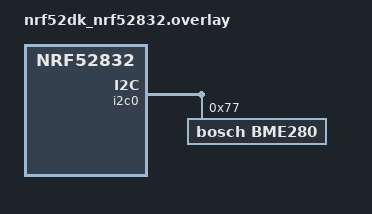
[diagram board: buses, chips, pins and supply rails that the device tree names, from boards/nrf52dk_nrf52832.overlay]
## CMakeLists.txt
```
# Find Zephyr. This also loads Zephyr's build system.
cmake_minimum_required(VERSION 3.20.1)
find_package(Zephyr REQUIRED HINTS $ENV{ZEPHYR_BASE})
project(zephyr_node)
zephyr_compile_definitions(PROJECT_NAME=${PROJECT_NAME} VENDOR_EVENT_DONE_MAX=5)
#Add compiler definitions and sources
message(STATUS "SPMS is Node") 
add_definitions(-D__SPMS_BT=1)
file(GLOB app_sources
    ${CMAKE_CURRENT_SOURCE_DIR}/src/*.c 
    ${CMAKE_CURRENT_SOURCE_DIR}/src/*.cpp
    ${CMAKE_CURRENT_SOURCE_DIR}/src/mesh/mesh_base_model.c
    ${CMAKE_CURRENT_SOURCE_DIR}/src/mesh/mesh_sensor_setup_server.c)
message(STATUS "Building SPMS as Node")
# Add sources
target_include_directories(app PRIVATE GLOB ${CMAKE_CURRENT_SOURCE_DIR}/inc ${CMAKE_CURRENT_SOURCE_DIR}/inc/ble ${CMAKE_CURRENT_SOURCE_DIR}/inc/mesh) 
target_sources(app PRIVATE ${app_sources})

# Build variables
# set(BOARD nrf52dk_nrf52832)
```

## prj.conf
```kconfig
#Debug settings
CONFIG_BT_DEBUG_LOG=y
CONFIG_BT_MESH_DEBUG=y
# CONFIG_BT_MESH_DEBUG_MODEL=y
# CONFIG_BT_MESH_DEBUG_ACCESS=y
# CONFIG_BT_MESH_DEBUG_MODEL=y
CONFIG_BT_MESH_DEBUG_TRANS=n
# CONFIG_BT_MESH_DEBUG_NET=n
# CONFIG_BT_MESH_DEBUG_CRYPTO=n

#Memory settings
CONFIG_SYSTEM_WORKQUEUE_STACK_SIZE=8192
CONFIG_HEAP_MEM_POOL_SIZE=16384
#8192

# System clock settings
CONFIG_SYS_CLOCK_TICKS_PER_SEC=10

#Sensor settings
CONFIG_ADC=y
CONFIG_ADC_ASYNC=y
#CONFIG_ADC_NRFX_ADC_CHANNEL_COUNT=4
CONFIG_I2C=y
CONFIG_SENSOR=y
CONFIG_BME280=y
# CONFIG_CCS811=y

# Bluetooth settings
CONFIG_BT_SETTINGS=y
CONFIG_FLASH=y
CONFIG_FLASH_PAGE_LAYOUT=y
CONFIG_FLASH_MAP=y
# COFNIG_NVS=y
CONFIG_FCB=y
CONFIG_SETTINGS=y
CONFIG_SETTINGS_FCB=y

CONFIG_BT=y
CONFIG_BT_TINYCRYPT_ECC=y
CONFIG_BT_RX_STACK_SIZE=8192
# CONFIG_BT_RX_BUF_COUNT=3
# CONFIG_BT_DISCARDABLE_BUF_COUNT=3

CONFIG_BT_ATT_PREPARE_COUNT=5

CONFIG_BT_CTLR_DUP_FILTER_LEN=0
CONFIG_BT_OBSERVER=y
CONFIG_BT_BROADCASTER=y

CONFIG_BT_CTLR_LE_ENC=n
CONFIG_BT_CTLR_LE_PING=n
CONFIG_BT_DATA_LEN_UPDATE=n
CONFIG_BT_PHY_UPDATE=n
CONFIG_BT_CTLR_CHAN_SEL_2=n
CONFIG_BT_CTLR_MIN_USED_CHAN=n
CONFIG_BT_CTLR_ADV_EXT=n
CONFIG_BT_CTLR_PRIVACY=n

CONFIG_BT_MESH=y
CONFIG_BT_MESH_GATT_PROXY=y
CONFIG_BT_PERIPHERAL=y

# CONFIG_BT_MESH_MODEL_EXTENSIONS=y
CONFIG_BT_MESH_PB_GATT=y
CONFIG_BT_MESH_PB_ADV=y

CONFIG_BT_DEVICE_NAME="SPMS device"

CONFIG_BT_MESH_SUBNET_COUNT=1
CONFIG_BT_MESH_APP_KEY_COUNT=2
CONFIG_BT_MESH_MODEL_GROUP_COUNT=1
CONFIG_BT_MESH_LABEL_COUNT=0
CONFIG_BT_MESH_CFG_CLI=y

# CONFIG_BT_DEBUG_LOG=y
# CONFIG_LOG_BUFFER_SIZE=2048
# CONFIG_LOG_STRDUP_BUF_COUNT=1
# CONFIG_BT_MESH_DEBUG=y
# CONFIG_BT_MESH_DEBUG_ACCESS=y
# CONFIG_BT_MESH_DEBUG_NET=y

# CONFIG_BT_MESH_LOW_POWER=y
# CONFIG_BT_MESH_LPN_SCAN_LATENCY=30
# CONFIG_BT_MESH_LPN_RECV_DELAY=40
# CONFIG_BT_MESH_LPN_POLL_TIMEOUT=300

CONFIG_NEWLIB_LIBC=y
CONFIG_NEWLIB_LIBC_FLOAT_PRINTF=y
#CONFIG_NATIVE_APPLICATION=y
CONFIG_TEST_RANDOM_GENERATOR=y
# CONFIG_HWINFO=y
```

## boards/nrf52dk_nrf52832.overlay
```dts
&i2c0 {
	bme280@77 {
		compatible = "bosch,bme280";
		reg = <0x77>;
		label = "BME280";
	};
};
```

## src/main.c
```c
/*
* Plantenna 2 node - bt mesh (Setup) node
 test file
* File name:    main.c
* Author:       Frank Arts
* Date:         20-01-2021
* Version:      V1
* Version info
* - Build on previous version of ble main.c
* - Added bt mesh enable function
*/

// SPMS
#include "spms_libs.h" 
#include "spms_sensor.h"
#include "mesh_sensor_common.h"

//Peripheral
#include "peripherals.h"

// BT MESH base model (config + health) + other added models
#include "mesh_base_model.h"
// globals
static struct k_timer updateTimer;
static struct k_timer updateStorage;
static const uint8_t device_id[5];
// Timer expire handler
void updateHandler()
{
    // LOG_MODULE_DECLARE(updateHandler, CONFIG_DBG_LOG_LEVEL);
    unsigned timeStamp = (unsigned)k_uptime_ticks();
    airflow_local sensor_data;

    printk("[Time] Timer expired at %d\n", timeStamp);
    printk("[Log] Current storage index is %d\n", get_local_storage_index());
    printk("[dbg] I'm a node\n");
    sensor_data.time = timeStamp;
    sensor_read(&sensor_data);
    
    //ccs811_main(); 
    //do_fetch_ccs811(dev, &localStorage[storageIndex]);
    add_sensor_series(sensor_data);
    print_storage_all();
    // sensor_descriptor_status_msg_pkt_t status;
    // status.short_pkt.sensor_property_id = SENSOR_ALL_PROP_ID;
    // printk("Status msg sending...\n");
    // sensor_data_status_tx(NULL, 0);
    // printk("Status msg sending done\n");
}

// Initialization
int init_SPMS()
{

    #define WARNING 0x1
    #define ERROR 0x2

    // hwinfo_get_device_id(device_id,sizeof(device_id));

    const static char strInit [] = "Initializing";
    const static char strPass [] = "[Passed]";
    const static char strFail [] = "[Failed]";

    int status = 0;

    printk("\nSmart Plant Monitoring System V1\n\n");

    // Local storage
    printk("[%s] local storage\n", strInit);
    if (!local_storage_init()) printk("%s %s local storage\n", strPass, strInit);
    else {printk("%s %s local storage\n", strPass, strInit); status = status ^ ERROR;}

    // ADC / sensors
    printk("[%s] Sensors\n", strInit);
    if (!sensor_init()) printk("%s %s Sensors\n", strPass, strInit);
    else {printk("%s %s Sensors\n", strFail, strInit); status = status ^ WARNING;}

    // Bluetooth
    printk("[%s] bluetooth\n", strInit);
    uint8_t rnd = sys_rand32_get()%128;
    dev_uuid[0] = rnd;
    bt_ctlr_set_public_addr(dev_uuid);
    printk("[BT] My UUID is %d\n",rnd);

    if (!init_sensor_model_local_storage()) 
        printk("%s %s sensor model local storage\n", strPass, strInit);
    else {
        printk("%s %s local storage\n", strPass, strInit); status = status ^ ERROR;}
    if(!bt_enable(spms_mesh_init)) 
        printk("%s %s bluetooth\n", strPass, strInit);
    if(!bt_enable(NULL)) 
        printk("%s %s bluetooth\n", strPass, strInit);

    // Start "update" timer, callback every minute
    printk("[%s] update timer\n", strInit);
    k_timer_init(&updateTimer, updateHandler, NULL);
    k_timer_start(&updateTimer, K_SECONDS(30), K_SECONDS(30));
    // k_timer_init(&updateStorage, print_storage_all,NULL);
    // k_timer_start(&updateStorage, K_SECONDS(180), K_SECONDS(180));
    printk("%s %s update timer\n", strPass, strInit);

    // Status check
    if (status & ERROR) {printk("[Error] Initialization failed\n"); return 1;}
    else if (status & WARNING) {printk("[Warning] Initialization passed with warnings\n");}
    else printk("[Pass] Initialization passed without warnings\n");

    // Peripherals
    // perInit();

    return 0;
}

/* main */
void main() {
    printk("Plantenna 2.0 node - (test_build)\n");

    if(!init_SPMS()) {
        printk("[Starting] Application\n");
        updateHandler();
    }
    //printk("[Stopping] Application\n");
    return;
}
```

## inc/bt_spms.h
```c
#ifndef bt_spms
#define bt_spms

// Bluetooth interace for the Smart Plant Monitoring System (SPMS)

#define AIRFLOW_INIT 0

#define AIRFLOW_BASE_UUID BT_UUID_INIT_128(	\
	0x9D, 0xD2, 0x0, 0x1, 0xDA, 0x1D, 0x4F, 0x20, 0x95, 0x7, 0xB2, 0x63, 0x01, 0x07, 0x31, 0x1A 	\
)

#define AIRFLOW_BCAST_UUID BT_UUID_INIT_128(	\
	0x9D, 0xD2, 0x0, 0x1, 0xDA, 0x1D, 0x4F, 0x20, 0x95, 0x7, 0xB2, 0x63, 0x02, 0x07, 0x31, 0x1A 	\
)

typedef struct {
    uint32_t time;
    int16_t temp;
    uint16_t humid;
    uint16_t press;
    uint16_t PM_1_0;
    uint16_t PM_2_5;
    uint16_t PM_10_0;
    uint16_t PC_0_3;
    uint16_t PC_0_5;
    uint16_t PC_1_0;
    uint16_t PC_2_5;
    uint16_t PC_5_0;
    uint16_t PC_10_0;
} bt_spms_mem_data;

uint8_t bt_spms_init(uint8_t profile);
uint8_t bt_spms_update(bt_spms_data* spms_local);

void cts_notify(void);

#endif
```

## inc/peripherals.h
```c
#ifndef PERIPHERALS_H_
#define PERIPHERALS_H_

#include <zephyr.h>
#include <device.h>
#include <drivers/gpio.h>
#include <sys/util.h>
#include <sys/printk.h>
#include <inttypes.h>
/*
 * Get button configuration from the devicetree sw0 alias. This is mandatory.
 */
#define SW0_NODE	DT_ALIAS(sw0)
#if !DT_NODE_HAS_STATUS(SW0_NODE, okay)
#error "Unsupported board: sw0 devicetree alias is not defined"
#endif
static const struct gpio_dt_spec button = GPIO_DT_SPEC_GET_OR(SW0_NODE, gpios,
							      {0});
static struct gpio_callback button_cb_data;

/*
 * The led0 devicetree alias is optional. If present, we'll use it
 * to turn on the LED whenever the button is pressed.
 */
static struct gpio_dt_spec led = GPIO_DT_SPEC_GET_OR(DT_ALIAS(led0), gpios,
						     {0});
	
	
	void perInit();
	void perDbgInit();
	static void button_pressed_isr(const struct device *dev, struct gpio_callback *cb, uint32_t pins);

#endif
```

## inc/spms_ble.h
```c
#ifndef __INCL_SPMS_BT_AIRFLOW
#define __INCL_SPMS_BT_AIRFLOW

// Bluetooth interace for the Smart Plant Monitoring System (SPMS) airflow
#include "spms_libs.h"

// Default device name
#define AIRFLOW_DEVICE_NAME 'S', 'P', 'M', 'S', ' ', 'N', '0', '1'

// BLE UUID's
#define AIRFLOW_DEVICE_UUID \
    0x9D, 0xD2, 0x0, 0x1, 0xDA, 0x1D, 0x4F, 0x20, \
    0x95, 0x7, 0xB2, 0x63, 0x01, 0x07, 0x31, 0x1A
#define AIRFLOW_SERVICE_UUID \
    0x9D, 0xD2, 0x0, 0x1, 0xDA, 0x1D, 0x4F, 0x20,\
    0x95, 0x7, 0xB2, 0x63, 0x02, 0x07, 0x31, 0x1A
#define AIRFLOW_CHARACTERISTIC_UUID \
    0x9D, 0xD2, 0x0, 0x1, 0xDA, 0x1D, 0x4F, 0x20,\
    0x95, 0x7, 0xB2, 0x63, 0x03, 0x07, 0x31, 0x1A

// Advertising data frame definition
/*   
    0           manufacturer specific size      0x1D (default)
    1           manufacturer specific AD type   0xFF (default)
    2-3         company ID                      0xFF (default)

    4-5         temperature         in °C       x100
    6-7         humidity            in %RH      x100
    8-9         pressure            in hPa      -
    10          battery voltage     in mV       /20
    11          status register     -           -
    12-13       airflow             in mm/s
*/
typedef uint8_t ble_airflow_data[14];

// Start advertising the bluetooth airflow service
/*
    returns 0 when no errors have occurred
*/
int ble_adv_start_airflow();

// Stop advertising the bluetooth airflow service
/*
    returns 0 when no errors have occurred
*/
int ble_adv_stop_airflow();

// Update the airflow dataframe data
/*
    airFlowmem  pointer to airflow_local object
    status      charge state

    returns 0 when no errors have occurred
*/
int ble_update_airflow(airflow_local* airflowMem, uint8_t status);

#endif
```

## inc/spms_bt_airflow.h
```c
#ifndef __INCL_SPMS_BT_AIRFLOW
#define __INCL_SPMS_BT_AIRFLOW

// Bluetooth interace for the Smart Plant Monitoring System (SPMS) airflow

// BLE UUID's
#define AIRFLOW_SERVICE_UUID \
    0x9D, 0xD2, 0x0, 0x1, 0xDA, 0x1D, 0x4F, 0x20,\
    0x95, 0x7, 0xB2, 0x63, 0x01, 0x07, 0x31, 0x1A
#define AIRFLOW_CHARACTERISTIC_UUID \
    0x9D, 0xD2, 0x0, 0x1, 0xDA, 0x1D, 0x4F, 0x20,\
    0x95, 0x7, 0xB2, 0x63, 0x02, 0x07, 0x31, 0x1A

// Local data frame definition
/*
    time        timestamp           in epoch    -
    temp        temperature         in °C       x100
    humi        humidity            in %RH      x100
    pres        pressure            in hPa      -
    batt        battery voltage     in mV       /20
    airf        airflow             in mm/s     -           
*/
typedef struct {
    uint32_t    time;
    int16_t     temp;
    uint16_t    humi;
    uint16_t    pres;
    uint8_t     batt;
    uint16_t    airf;
} spms_airflow_local;

// Advertising data frame definition
/*   
    0           manufacturer specific size      0x1D (default)
    1           manufacturer specific AD type   0xFF (default)
    2-3         company ID                      0xFF (default)

    4-5         temperature         in °C       x100
    6-7         humidity            in %RH      x100
    8-9         pressure            in hPa      -
    10          battery voltage     in mV       /20
    11          status register     -           -
    12-13       airflow             in mm/s
    14          is ready            -               -
*/
typedef uint8_t spms_airflow_advertising[15];

// Initialize the bluetooth airflow service
/*
    This service will become visible after advertising starts

    ms_size     manufacturer specific size      0x1D (default)
    ms_adtype   manufacturer specific AD type   0xFF (default)
    id          company ID                      0xFF (default)

    returns 0 when no errors have occurred
*/
int bt_init_airflow(uint8_t ms_size, uint8_t ms_adtype, uint16_t id);

// Update the airflow dataframe data
/*
    airFlowmem  pointer to spms_airflow_local object
    status      charge state

    returns 0 when no errors have occurred
*/
int bt_update_airflow(spms_airflow_local* airflowMem, uint8_t status);

#endif
```

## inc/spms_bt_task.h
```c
//#ifndef __INCL_SPMS_BT_TASK
//#define __INCL_SPMS_BT_TASK
//
//// Bluetooth interface for the Smart Plant Monitoring System (SPMS) task service
//
//// BLE UUID's
//#define TASK_SERVICE_UUID \
//    0x9D, 0xD2, 0x0, 0x1, 0xDA, 0x1D, 0x4F, 0x20,\
//    0x95, 0x7, 0xB2, 0x63, 0x01, 0x00, 0x31, 0x1A
//#define TASK_CHARACTERISTIC_UUID \
//    0x9D, 0xD2, 0x0, 0x1, 0xDA, 0x1D, 0x4F, 0x20,\
//    0x95, 0x7, 0xB2, 0x63, 0x02, 0x00, 0x31, 0x1A
//
//
//uint8_t bt_spms_init(uint8_t profile);
//uint8_t bt_spms_airflow_update(spms_airflow_mem_data* spms_airflow_local);
//
//#endif
```

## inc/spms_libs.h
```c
#ifndef __SPMS_LIBS
#define __SPMS_LIBS

// Included libraries and local storage typedef for the Smart Plant Monitoring System (SPMS)

#include <zephyr.h>
#include <kernel.h>
#include <sys/printk.h>

#include <device.h>
#include <devicetree.h>
#include <drivers/sensor.h>
#include <drivers/adc.h>
#include <hal/nrf_saadc.h>

#include <random/rand32.h>

#include <bluetooth/bluetooth.h>
#include <bluetooth/hci.h>
#include <bluetooth/conn.h>
#include <bluetooth/uuid.h>
#include <bluetooth/gatt.h>

#include "spms_local_storage.h"

#endif
```

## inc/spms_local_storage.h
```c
#ifndef __SPMS_LOCAL_STORAGE_H
#define __SPMS_LOCAL_STORAGE_H

#include "spms_libs.h"

// Local data frame definition
/*
    time        timestamp           in epoch    -
    temp        temperature         in °C       x100
    humi        humidity            in %RH      x100
    pres        pressure            in hPa      -
    batt        battery voltage     in mV       /20
    airf        airflow             in mm/s     -           
*/
typedef struct {
    uint32_t    time;
    int16_t     temp;
    uint16_t    humi;
    uint16_t    pres;
    uint8_t     batt;
    uint16_t    airf;
    uint16_t    test;
} airflow_local;

// Amount of airflow_local that are allocated  
#define HEAP_SIZE 512

// Initialize the local storage
/*
    returns 0 when no errors have occurred
*/
int local_storage_init();

// Add a new data set of airflow_local to the local storage
/*
    sensor_data = data to be added to the local storage

    returns 0 when no errors have occurred
*/
int add_sensor_series(airflow_local sensor_data);

// Removes the local data at the given index. 
int remove_sensor_series(int index);

// Get the local storage index of the next unassigned local storage entry
/*
    returns the local storage index 
*/
int get_local_storage_index();

// Get a local storage entry at a specific index
/*
    index = index value of the requested local storage entry
    sensor_data = data to which the local storage entry is copied to 

    returns 0 when no errors have occurred
*/ 
int get_sensor_series(int index, airflow_local* sensor_data);

// Sends the local storage to the cloud
/** 
 *  Tries to send all the local storage to the cloud. 
 *  If the cloud is not connected it will retry in 5 min. 
 * 
 */
int send_to_cloud();

// Stores the data into the airflow struc
airflow_local store_payload(airflow_local data, uint16_t* payload);

//Print all storages
void print_storage_all();
//Print index storage
void print_storage(int index);
#endif
```

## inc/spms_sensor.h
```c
#ifndef __INCL_SPMS_SENSOR
#define __INCL_SPMS_SENSOR

// Sensor interace for the Smart Plant Monitoring System (SPMS) airflow
#include "spms_libs.h"

// Initialize the sensors
/*
    returns 0 when no errors have occurred
*/
int sensor_init();

// Read sensor data into local memory
/*
    airFlowmem  pointer to airflow_local object
    status      charge state

    returns 0 when no errors have occurred
*/
int sensor_read(airflow_local* airflowMem);

#endif
```

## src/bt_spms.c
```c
#include <zephyr/types.h>
#include <stddef.h>
#include <string.h>
#include <errno.h>
#include <sys/printk.h>
#include <sys/byteorder.h>
#include <zephyr.h>

#include <bluetooth/bluetooth.h>
#include <bluetooth/hci.h>
#include <bluetooth/conn.h>
#include <bluetooth/uuid.h>
#include <bluetooth/gatt.h>

static struct bt_base_uuid;
static struct bt_bcast_uuid;
static struct bt_spms_adv_data {
	uint8_t manufacture_size;
    uint32_t time;
    int16_t temp;
    uint16_t humid;
    uint16_t press;
    uint16_t PM_1_0;
    uint16_t PM_2_5;
    uint16_t PM_10_0;
    uint16_t PC_0_3;
    uint16_t PC_0_5;
    uint16_t PC_1_0;
    uint16_t PC_2_5;
    uint16_t PC_5_0;
    uint16_t PC_10_0;
};

static void ct_ccc_cfg_changed(const struct bt_gatt_attr *attr, uint16_t value)
{
	/* TODO: Handle value */
}

static ssize_t read_ct(struct bt_conn *conn, const struct bt_gatt_attr *attr,
		       void *buf, uint16_t len, uint16_t offset)
{
	const char *value = attr->user_data;

	return bt_gatt_attr_read(conn, attr, buf, len, offset, value,
				 sizeof(ct));
}

static ssize_t write_ct(struct bt_conn *conn, const struct bt_gatt_attr *attr,
			const void *buf, uint16_t len, uint16_t offset,
			uint8_t flags)
{
	uint8_t *value = attr->user_data;

	if (offset + len > sizeof(ct)) {
		return BT_GATT_ERR(BT_ATT_ERR_INVALID_OFFSET);
	}

	memcpy(value + offset, buf, len);
	ct_update = 1U;

	return len;
}

void bt_spms_init(uint8_t profile)
{
	switch(profile)
	BT_GATT_SERVICE_DEFINE(myAir_svs,
	BT_GATT_PRIMARY_SERVICE(&myair_uuid_psrv),
	BT_GATT_CHARACTERISTIC(&myair_uuid_char.uuid, BT_GATT_CHRC_READ |
			       BT_GATT_CHRC_NOTIFY | BT_GATT_CHRC_WRITE,
			       BT_GATT_PERM_READ | BT_GATT_PERM_WRITE,
			       read_ct, write_ct, ct),
	BT_GATT_CCC(ct_ccc_cfg_changed, BT_GATT_PERM_READ | BT_GATT_PERM_WRITE),

);
}

void cts_notify(void)
{	/* Current Time Service updates only when time is changed */
	if (!ct_update) {
		return;
	}

	ct_update = 0U;
	//bt_gatt_notify(NULL, &cts_cvs.attrs[1], &ct, sizeof(ct));
}
```

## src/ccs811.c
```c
// /*
//  * Copyright (c) 2018 Peter Bigot Consulting, LLC
//  * Copyright (c) 2018 Linaro Ltd.
//  *
//  * SPDX-License-Identifier: Apache-2.0
//  */

// #include <zephyr.h>
// #include <device.h>
// #include <drivers/sensor.h>
// #include <sys/printk.h>
// #include <drivers/sensor/ccs811.h>
// #include <stdio.h>
// #include "spms_libs.h"
// #include "spms_sensor.h"

// static bool app_fw_2;
// static struct device* devCCS811 = NULL;

// static const char *now_str(void)
// {
// 	static char buf[16]; /* ...HH:MM:SS.MMM */
// 	uint32_t now = k_uptime_get_32();
// 	unsigned int ms = now % MSEC_PER_SEC;
// 	unsigned int s;
// 	unsigned int min;
// 	unsigned int h;

// 	now /= MSEC_PER_SEC;
// 	s = now % 60U;
// 	now /= 60U;
// 	min = now % 60U;
// 	now /= 60U;
// 	h = now;

// 	snprintf(buf, sizeof(buf), "%u:%02u:%02u.%03u",
// 		 h, min, s, ms);
// 	return buf;
// }

// static int do_fetch_ccs811(const struct device *dev, airflow_local* airflowMem)
// {
// 	struct sensor_value co2, tvoc, voltage, current;
// 	int rc = 0;
// 	int baseline = -1;

// 	if (rc == 0) {
// 		rc = sensor_sample_fetch(dev);
// 	}
// 	if (rc == 0) {
// 		const struct ccs811_result_type *rp = ccs811_result(dev);

// 		sensor_channel_get(dev, SENSOR_CHAN_CO2, &co2);
// 		sensor_channel_get(dev, SENSOR_CHAN_VOC, &tvoc);
// 		sensor_channel_get(dev, SENSOR_CHAN_VOLTAGE, &voltage);
// 		sensor_channel_get(dev, SENSOR_CHAN_CURRENT, &current);
// 		printk("\n[%s]: CCS811: %u ppm eCO2; %u ppb eTVOC\n",
// 		       now_str(), co2.val1, tvoc.val1);

		
// 		printk("Voltage: %d.%06dV; Current: %d.%06dA\n", voltage.val1,
// 		       voltage.val2, current.val1, current.val2);

// 		airflowMem->co2  = (uint16_t) (co2.val1);
// 		airflowMem->tvoc = (uint16_t) (tvoc.val1);

// 		if (app_fw_2 && !(rp->status & CCS811_STATUS_DATA_READY)) {
// 			printk("STALE DATA\n");
// 		}

// 		if (rp->status & CCS811_STATUS_ERROR) {
// 			printk("ERROR: %02x\n", rp->error);
// 		}
// 	}
// 	return rc;
// }

// static void do_main(const struct device *dev)
// {
// 	while (true) {
// 		int rc = do_fetch(dev);

// 		if (rc == 0) {
// 			printk("Timed fetch got %d\n", rc);
// 		} else if (-EAGAIN == rc) {
// 			printk("Timed fetch got stale data\n");
// 		} else {
// 			printk("Timed fetch failed: %d\n", rc);
// 			break;
// 		}
// 		k_msleep(1000);
// 	}
// }

// void ccs811_main(void)
// {
// 	const struct device *dev = device_get_binding(DT_LABEL(DT_INST(0, ams_ccs811)));
// 	struct ccs811_configver_type cfgver;
// 	int rc;

// 	if (!dev) {
// 		printk("Failed to get device binding");
// 		return;
// 	}

// 	printk("device is %p, name is %s\n", dev, dev->name);

// 	rc = ccs811_configver_fetch(dev, &cfgver);
// 	if (rc == 0) {
// 		printk("HW %02x; FW Boot %04x App %04x ; mode %02x\n",
// 		       cfgver.hw_version, cfgver.fw_boot_version,
// 		       cfgver.fw_app_version, cfgver.mode);
// 		app_fw_2 = (cfgver.fw_app_version >> 8) > 0x11;
// 	}

// 	if (rc == 0) {
// 		do_main(dev);
// 	}
// }
```

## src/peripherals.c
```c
#include <zephyr.h>
#include <device.h>
#include <drivers/gpio.h>
#include <sys/util.h>
#include <sys/printk.h>
#include <inttypes.h>
#include"peripherals.h"
#include "mesh_sensor_common.h"

static struct k_work_delayable button_pressed;

#define DEBOUNCE_INTERVAL 100


static void button_pressed_fn(struct k_work *work)
{
		 #if defined(__SPMS_BT)
			#if !__SPMS_BT
				printk("Bu to n\n");
			#elif __SPMS_BT==1 //Node
				gpio_pin_set_dt(&led, 1);
				sensor_descriptor_status_msg_pkt_t status;
				status.short_pkt.sensor_property_id = SENSOR_ALL_PROP_ID;
				
				printk("Status msg sending...\n");
				sensor_data_status_tx(true, 0, false);
				printk("Status msg sending done\n");
				gpio_pin_set_dt(&led, 0);
			#else				//Server
				gpio_pin_set_dt(&led, 1);
				printk("Get msg sending...\n");
				sensor_descriptor_get_tx(SENSOR_ALL_PROP_ID);
                // sensor_data_get_tx(0);
				// sensor_test_get_tx(SENSOR_TEST_PROP_ID);
				printk("Get msg sending done\n");
				gpio_pin_set_dt(&led, 0);
			#endif
        #endif
}


void perInit()
{
	int ret;
	printk("\n\n");
	if (!device_is_ready(button.port)) {
		printk("Error: button device %s is not ready\n",
		       button.port->name);
		return;
	}

	ret = gpio_pin_configure_dt(&button, GPIO_INPUT);
	if (ret != 0) {
		printk("Error %d: failed to configure %s pin %d\n",
		       ret, button.port->name, button.pin);
		return;
	}

	ret = gpio_pin_interrupt_configure_dt(&button,
					      GPIO_INT_EDGE_TO_ACTIVE);
	if (ret != 0) {
		printk("Error %d: failed to configure interrupt on %s pin %d\n",
			ret, button.port->name, button.pin);
		return;
	}

	gpio_init_callback(&button_cb_data, button_pressed_isr, BIT(button.pin));
	gpio_add_callback(button.port, &button_cb_data);
	printk("Set up button at %s pin %d\n", button.port->name, button.pin);

	if (led.port && !device_is_ready(led.port)) {
		printk("Error %d: LED device %s is not ready; ignoring it\n",
		       ret, led.port->name);
		led.port = NULL;
	}
	if (led.port) {
		ret = gpio_pin_configure_dt(&led, GPIO_OUTPUT);
		if (ret != 0) {
			printk("Error %d: failed to configure LED device %s pin %d\n",
			       ret, led.port->name, led.pin);
			led.port = NULL;
		} else {
			printk("Set up LED at %s pin %d\n", led.port->name, led.pin);
		}
	}
	gpio_pin_set_dt(&led, 0);
	printk("\n\n");
	//Init work queue for button press
	k_work_init_delayable(&button_pressed, button_pressed_fn);
}


static void button_pressed_isr(const struct device *dev, struct gpio_callback *cb,
		    uint32_t pins)
{
	k_work_reschedule(&button_pressed, K_MSEC(DEBOUNCE_INTERVAL));
}
```

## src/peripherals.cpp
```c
#include <zephyr.h>
#include <device.h>
#include <drivers/gpio.h>
#include <sys/util.h>
#include <sys/printk.h>
#include <inttypes.h>
#include"peripherals.h"
```
